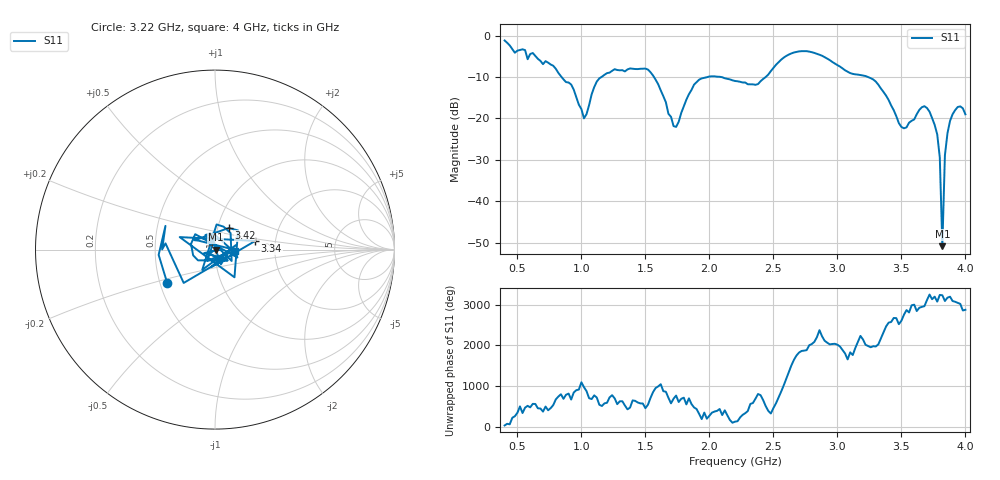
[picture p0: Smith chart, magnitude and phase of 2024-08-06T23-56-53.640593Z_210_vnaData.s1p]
!Created with skrf (http://scikit-rf.org).
# Hz S RI R 50.0
!freq ReS11 ImS11
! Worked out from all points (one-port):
!   181 points, 400 MHz to 4 GHz, reference 50 ohm
!   lowest |S11| = -50.8 dB at 3.82 GHz (marker M1), VSWR 1.01, Z = 50.3 - j0.0259 ohm
!   |S11| at or under -10 dB: 1.567 GHz to 1.987 GHz (420.3 MHz wide, 23.7 % of centre); 2.088 GHz to 2.44 GHz (352.5 MHz wide, 15.6 % of centre); 3.238 GHz to end of sweep (the widest 3 of 4)
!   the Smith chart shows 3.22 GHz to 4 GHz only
!   S11 on the Smith chart (normalised r, x): 3.22 GHz: 0.55, -0.23; 3.34 GHz: 1.57, +0.16; 3.42 GHz: 1.13, +0.28; 4 GHz: 1.25, -0.02
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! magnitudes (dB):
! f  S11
! 400 MHz  -1.2
! 860 MHz  -10.6
! 920 MHz  -11.8
! 1.02 GHz  -20.0
! 1.12 GHz  -11.1
! 1.3 GHz  -8.4
! 1.52 GHz  -8.2
! 1.6 GHz  -11.8
! 1.72 GHz  -21.9
! 1.76 GHz  -20.8
! 1.92 GHz  -10.6
! 2.2 GHz  -11.0
! 2.38 GHz  -11.7
! 2.66 GHz  -4.1
! 3.1 GHz  -9.1
! 3.22 GHz  -9.8
! 3.34 GHz  -12.8
! 3.42 GHz  -16.9
! 3.5 GHz  -22.1
! 3.56 GHz  -21.0
! 3.68 GHz  -17.1
! 3.76 GHz  -21.6
! 3.8 GHz  -29.4
! 3.82 GHz  -50.8
! 3.84 GHz  -28.9
! 3.86 GHz  -23.6
! 3.94 GHz  -17.3
! 4 GHz  -19.0
